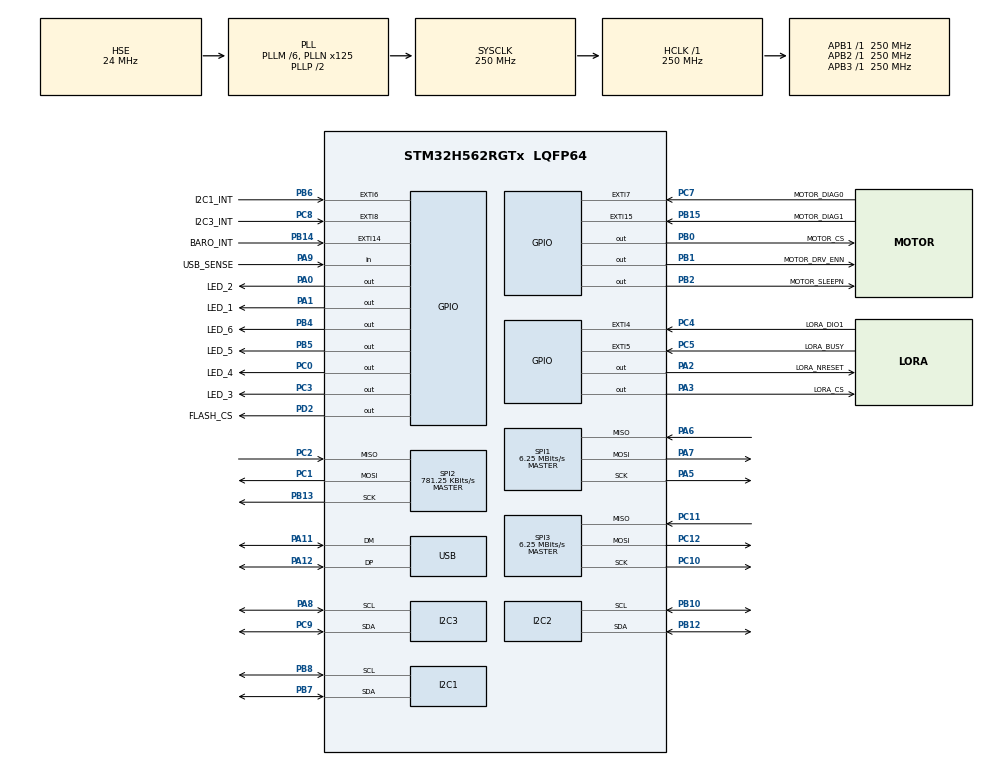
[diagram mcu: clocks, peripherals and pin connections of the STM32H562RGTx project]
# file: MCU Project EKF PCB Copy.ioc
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BOOTPATH.BootPathName=LEGACY
BOOTPATH.UserSelectedBootPath=LEGACY
CORTEX_M33_NS.Number-Cortex_Memory_Protection_Unit_Region0_OTP_RO_AREAS_Settings=MPU_REGION_NUMBER0
CORTEX_M33_NS.default_mode_Activation=1
CORTEX_M33_NS.userName=CORTEX_M33
I2C1.Timing=0x60808CD3
I2C2.Timing=0x60808CD3
I2C3.Timing=0x60808CD3
Mcu.Family=STM32H5
Mcu.Name=STM32H562RGTx
Mcu.Package=LQFP64
NVIC.PriorityGroup=NVIC_PRIORITYGROUP_4
PA0.GPIO_Label=LED_2
PA0.GPIO_Speed=GPIO_SPEED_FREQ_LOW
PA0.Signal=GPIO_Output
PA1.GPIO_Label=LED_1
PA1.Signal=GPIO_Output
PA11.Mode=Device
PA11.Signal=USB_DM
PA12.Mode=Device
PA12.Signal=USB_DP
PA13(JTMS/SWDIO).Mode=Trace_Asynchronous_SW
PA13(JTMS/SWDIO).Signal=DEBUG_JTMS-SWDIO
PA14(JTCK/SWCLK).Mode=Trace_Asynchronous_SW
PA14(JTCK/SWCLK).Signal=DEBUG_JTCK-SWCLK
PA2.GPIO_Label=LORA_NRESET
PA2.Signal=GPIO_Output
PA3.GPIO_Label=LORA_CS
PA3.PinState=GPIO_PIN_SET
PA3.Signal=GPIO_Output
PA5.Mode=Full_Duplex_Master
PA5.Signal=SPI1_SCK
PA6.Mode=Full_Duplex_Master
PA6.Signal=SPI1_MISO
PA7.Mode=Full_Duplex_Master
PA7.Signal=SPI1_MOSI
PA8.Mode=I2C
PA8.Signal=I2C3_SCL
PA9.GPIO_Label=USB_SENSE
PA9.Signal=GPIO_Input
PB0.GPIO_Label=MOTOR_CS
PB0.PinState=GPIO_PIN_SET
PB0.Signal=GPIO_Output
PB1.GPIO_Label=MOTOR_DRV_ENN
PB1.PinState=GPIO_PIN_SET
PB1.Signal=GPIO_Output
PB10.Mode=I2C
PB10.Signal=I2C2_SCL
PB12.Mode=I2C
PB12.Signal=I2C2_SDA
PB13.Mode=Full_Duplex_Master
PB13.Signal=SPI2_SCK
PB14.GPIO_Label=BARO_INT
PB14.Signal=GPXTI14
PB15.GPIO_Label=MOTOR_DIAG1
PB15.Signal=GPXTI15
PB2.GPIO_Label=MOTOR_SLEEPN
PB2.PinState=GPIO_PIN_SET
PB2.Signal=GPIO_Output
PB3(JTDO/TRACESWO).Mode=Trace_Asynchronous_SW
PB3(JTDO/TRACESWO).Signal=DEBUG_JTDO-SWO
PB4(NJTRST).GPIO_Label=LED_6
PB4(NJTRST).Signal=GPIO_Output
PB5.GPIO_Label=LED_5
PB5.Signal=GPIO_Output
PB6.GPIO_Label=I2C1_INT
PB6.Signal=GPXTI6
PB7.Mode=I2C
PB7.Signal=I2C1_SDA
PB8.Mode=I2C
PB8.Signal=I2C1_SCL
PC0.GPIO_Label=LED_4
PC0.Signal=GPIO_Output
PC1.Mode=Full_Duplex_Master
PC1.Signal=SPI2_MOSI
PC10.Mode=Full_Duplex_Master
PC10.Signal=SPI3_SCK
PC11.Mode=Full_Duplex_Master
PC11.Signal=SPI3_MISO
PC12.Mode=Full_Duplex_Master
PC12.Signal=SPI3_MOSI
PC2.Mode=Full_Duplex_Master
PC2.Signal=SPI2_MISO
PC3.GPIO_Label=LED_3
PC3.Signal=GPIO_Output
PC4.GPIO_Label=LORA_DIO1
PC4.Signal=GPXTI4
PC5.GPIO_Label=LORA_BUSY
PC5.Signal=GPXTI5
PC7.GPIO_Label=MOTOR_DIAG0
PC7.Signal=GPXTI7
PC8.GPIO_Label=I2C3_INT
PC8.Signal=GPXTI8
PC9.Mode=I2C
PC9.Signal=I2C3_SDA
PD2.GPIO_Label=FLASH_CS
PD2.PinState=GPIO_PIN_SET
PD2.Signal=GPIO_Output
PH0-OSC_IN(PH0).Mode=HSE-DIG-External-Clock-Source
PH0-OSC_IN(PH0).Signal=RCC_OSC_IN
ProjectManager.HeapSize=0x200
ProjectManager.StackSize=0x2000
ProjectManager.TargetToolchain=STM32CubeIDE
RCC.ADCFreq_Value=250000000
RCC.AHBFreq_Value=250000000
RCC.APB1Freq_Value=250000000
RCC.APB1TimFreq_Value=250000000
RCC.APB2Freq_Value=250000000
RCC.APB2TimFreq_Value=250000000
RCC.APB3Freq_Value=250000000
RCC.CSI_VALUE=4000000
RCC.CortexFreq_Value=250000000
RCC.EPOD_VALUE=24000000
RCC.HCLKFreq_Value=250000000
RCC.HSE_VALUE=24000000
RCC.HSI48_VALUE=48000000
RCC.HSIDiv=RCC_HSI_DIV1
RCC.HSI_VALUE=64000000
RCC.LSE_VALUE=32768
RCC.LSIRC_VALUE=32000
RCC.PLL1Q=5
RCC.PLL2FRACN=0
RCC.PLL3FRACN=0
RCC.PLLFRACN=0
RCC.PLLM=6
RCC.PLLN=125
RCC.PLLSourceVirtual=RCC_PLL1_SOURCE_HSE
RCC.SYSCLKFreq_VALUE=250000000
RCC.SYSCLKSource=RCC_SYSCLKSOURCE_PLLCLK
RCC.USBFreq_Value=48000000
RCC.VCOOutputFreq_Value=500000000
SPI1.BaudRatePrescaler=SPI_BAUDRATEPRESCALER_16
SPI1.CalculateBaudRate=6.25 MBits/s
SPI1.DataSize=SPI_DATASIZE_8BIT
SPI1.Direction=SPI_DIRECTION_2LINES
SPI1.Mode=SPI_MODE_MASTER
SPI1.VirtualType=VM_MASTER
SPI2.BaudRatePrescaler=SPI_BAUDRATEPRESCALER_128
SPI2.CLKPhase=SPI_PHASE_2EDGE
SPI2.CLKPolarity=SPI_POLARITY_HIGH
SPI2.CalculateBaudRate=781.25 KBits/s
SPI2.DataSize=SPI_DATASIZE_8BIT
SPI2.Direction=SPI_DIRECTION_2LINES
SPI2.Mode=SPI_MODE_MASTER
SPI2.VirtualType=VM_MASTER
SPI3.BaudRatePrescaler=SPI_BAUDRATEPRESCALER_16
SPI3.CalculateBaudRate=6.25 MBits/s
SPI3.DataSize=SPI_DATASIZE_8BIT
SPI3.Direction=SPI_DIRECTION_2LINES
SPI3.Mode=SPI_MODE_MASTER
SPI3.VirtualType=VM_MASTER
USB.VirtualMode=Device_Only
VP_BOOTPATH_VS_BOOTPATH.Mode=BP_Activate
VP_CORTEX_M33_NS_VS_Hclk.Mode=Hclk_Mode
VP_ICACHE_VS_ICACHE.Mode=DirectMappedCache
VP_MEMORYMAP_VS_MEMORYMAP.Mode=CurAppReg
VP_PWR_VS_LPOM.Mode=PowerOptimisation
VP_PWR_VS_SECSignals.Mode=Security/Privilege
board=custom

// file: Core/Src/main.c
/* USER CODE BEGIN Header */
/**
  ******************************************************************************
  * @file           : main.c
  * @brief          : Main program body
  ******************************************************************************
  * @attention
  *
  * Copyright (c) 2026 STMicroelectronics.
  * All rights reserved.
  *
  * This software is licensed under terms that can be found in the LICENSE file
  * in the root directory of this software component.
  * If no LICENSE file comes with this software, it is provided AS-IS.
  *
  ******************************************************************************
  */
/* USER CODE END Header */
#include "main.h"

/* USER CODE BEGIN Includes */
#include <stdbool.h>
#include <string.h>
#include <stdio.h>
#include <stdlib.h>
/*
 * Application modules layered on top of CubeMX-generated peripheral setup:
 *   ambar_app      -> cooperative EKF/sensor/telemetry scheduler.
 *   radio_bridge   -> SX1280 telemetry payload formatter/service task.
 *   rocket_sensors -> sensor init, raw reads, and SI-unit conversions.
 *   device drivers -> individual chip register access.
 */
/* Project-owned cooperative application; see CODE_GUIDE.md [ARCH-1]. */
#include "ambar_app.h"
#include "ambar_features.h"
#include "radio_bridge.h"
#include "rocket_sensors.h"
#include "lsm6dsv32x.h"
#include "lis2mdl.h"
#include "bmp388.h"
#include "tmc5240.h"
/* USER CODE END Includes */

/* USER CODE BEGIN PD */
/*
 * Bring-up constants used only in main.c for quick LED/debug checks.  Full
 * sensor/radio operation lives in the dedicated driver modules below.
 */
#define BMP388_I2C_ADDR          (0x76U << 1)
#define BMP388_CHIP_ID_REG       0x00U
#define BMP388_EXPECTED_CHIP_ID  0x50U
#define W25Q_JEDEC_ID_CMD                 0x9FU
#define W25Q_EXPECTED_MANUFACTURER_ID     0xEFU
#define W25Q_EXPECTED_MEMORY_TYPE         0x40U
#define W25Q_EXPECTED_CAPACITY            0x17U
#define SX1280_GET_STATUS_CMD  0xC0U
#define SX1280_BUSY_TIMEOUT_MS 100U
#if AMBAR_FEATURE_WATCHDOG
/* 32 kHz nominal LSI / 128 prescaler, reload 3999 -> approximately 16 seconds. */
#define AMBAR_WATCHDOG_RELOAD            3999U
#define AMBAR_WATCHDOG_INIT_TIMEOUT_MS   100U
#define AMBAR_IWDG_KEY_ENABLE            0x0000CCCCUL
#define AMBAR_IWDG_KEY_WRITE_ACCESS      0x00005555UL
#define AMBAR_IWDG_KEY_RELOAD            0x0000AAAAUL
#endif
/* USER CODE END PD */

I2C_HandleTypeDef hi2c1;
I2C_HandleTypeDef hi2c2;
I2C_HandleTypeDef hi2c3;

SPI_HandleTypeDef hspi1;
SPI_HandleTypeDef hspi2;
SPI_HandleTypeDef hspi3;

PCD_HandleTypeDef hpcd_USB_DRD_FS;

/* USER CODE BEGIN PV */
/*
 * These globals are intentionally simple debugger-visible bring-up values.
 * They let you pause after startup and confirm each major device answered:
 *   LED_1/2 -> TMC5240 motor driver pass/fail.
 *   LED_3   -> BMP388 chip ID pass.
 *   LED_4   -> external flash JEDEC ID pass.
 *   LED_5   -> SX1280 radio status/telemetry pass.
 *   LED_6   -> toggles on telemetry scheduler cycles.
 */
uint8_t tmc5240_version = 0;
HAL_StatusTypeDef tmc5240_status = HAL_ERROR;
uint8_t bmp388_chip_id = 0;
HAL_StatusTypeDef bmp388_status = HAL_ERROR;
uint8_t flash_jedec_id[3] = {0};
HAL_StatusTypeDef flash_status = HAL_ERROR;
uint8_t sx1280_status_byte = 0;
HAL_StatusTypeDef sx1280_status = HAL_ERROR;
/* USER CODE END PV */

void SystemClock_Config(void);
static void MPU_Config(void);
static void MX_GPIO_Init(void);
static void MX_I2C1_Init(void);
static void MX_I2C3_Init(void);
static void MX_ICACHE_Init(void);
static void MX_SPI1_Init(void);
static void MX_SPI2_Init(void);
static void MX_SPI3_Init(void);
#if AMBAR_FEATURE_USB_PROTOCOL
static HAL_StatusTypeDef MX_USB_PCD_Init(void);
#endif
static void MX_I2C2_Init(void);
/* USER CODE BEGIN PFP */
/*
 * Local hardware smoke-test helpers.  They are intentionally separate from the
 * flight scheduler so board bring-up can tell "chip did not answer" apart from
 * higher-level EKF or telemetry faults.
 */
static HAL_StatusTypeDef BMP388_ReadChipId(uint8_t *chip_id);
static HAL_StatusTypeDef Flash_ReadJedecId(uint8_t jedec_id[3]);
#if AMBAR_FEATURE_RADIO
static HAL_StatusTypeDef SX1280_WaitWhileBusy(uint32_t timeout_ms);
static HAL_StatusTypeDef SX1280_ReadStatus(uint8_t *status_byte);
static HAL_StatusTypeDef SX1280_BringupTest(uint8_t *status_byte);
#endif
#if AMBAR_FEATURE_WATCHDOG
static HAL_StatusTypeDef AmbarWatchdog_Init(void);
static void AmbarWatchdog_Refresh(void);
#endif
/* USER CODE END PFP */

/* USER CODE BEGIN 0 */
#if AMBAR_FEATURE_WATCHDOG
static HAL_StatusTypeDef AmbarWatchdog_Init(void)
{
  const uint32_t update_flags = IWDG_SR_PVU | IWDG_SR_RVU | IWDG_SR_WVU;
  const uint32_t start_ms = HAL_GetTick();

  /* Starting IWDG also starts its LSI clock on STM32H5. */
  IWDG->KR = AMBAR_IWDG_KEY_ENABLE;
  IWDG->KR = AMBAR_IWDG_KEY_WRITE_ACCESS;
  IWDG->PR = IWDG_PR_PR_2 | IWDG_PR_PR_0; /* divide by 128 */
  IWDG->RLR = AMBAR_WATCHDOG_RELOAD;
  IWDG->WINR = IWDG_WINR_WIN; /* window disabled */

  while ((IWDG->SR & update_flags) != 0U)
  {
    if ((uint32_t)(HAL_GetTick() - start_ms) >= AMBAR_WATCHDOG_INIT_TIMEOUT_MS)
    {
      return HAL_TIMEOUT;
    }
  }

  IWDG->KR = AMBAR_IWDG_KEY_RELOAD;
  return HAL_OK;
}

static void AmbarWatchdog_Refresh(void)
{
  IWDG->KR = AMBAR_IWDG_KEY_RELOAD;
}
#endif

static HAL_StatusTypeDef BMP388_ReadChipId(uint8_t *chip_id)
{
  /*
   * Minimal direct BMP388 read used before the full BMP388 driver initializes.
   * It checks the physical I2C2 path and chip ID with as little code as possible.
   */
  if (chip_id == 0)
  {
    return HAL_ERROR;
  }

  *chip_id = 0;
  return HAL_I2C_Mem_Read(&hi2c2, BMP388_I2C_ADDR, BMP388_CHIP_ID_REG,
                          I2C_MEMADD_SIZE_8BIT, chip_id, 1, 100);
}

static HAL_StatusTypeDef Flash_ReadJedecId(uint8_t jedec_id[3])
{
  /*
   * External flash smoke test.  The EKF does not use flash yet, but this confirms
   * SPI3, FLASH_CS, and the flash power/wiring are alive on the PCB.
   */
  uint8_t cmd = W25Q_JEDEC_ID_CMD;
  HAL_StatusTypeDef status;

  if (jedec_id == 0)
  {
    return HAL_ERROR;
  }

  jedec_id[0] = 0;
  jedec_id[1] = 0;
  jedec_id[2] = 0;

  HAL_GPIO_WritePin(FLASH_CS_GPIO_Port, FLASH_CS_Pin, GPIO_PIN_RESET);

  status = HAL_SPI_Transmit(&hspi3, &cmd, 1, 100);
  if (status == HAL_OK)
  {
    status = HAL_SPI_Receive(&hspi3, jedec_id, 3, 100);
  }

  HAL_GPIO_WritePin(FLASH_CS_GPIO_Port, FLASH_CS_Pin, GPIO_PIN_SET);

  return status;
}

#if AMBAR_FEATURE_RADIO
static HAL_StatusTypeDef SX1280_WaitWhileBusy(uint32_t timeout_ms)
{
  /*
   * Tiny radio helper for the startup smoke test.  The full SX1280 driver has a
   * richer port layer, but this keeps early status-read failures easy to isolate.
   */
  uint32_t start = HAL_GetTick();

  while (HAL_GPIO_ReadPin(LORA_BUSY_GPIO_Port, LORA_BUSY_Pin) == GPIO_PIN_SET)
  {
    if ((HAL_GetTick() - start) >= timeout_ms)
    {
      return HAL_TIMEOUT;
    }
  }

  return HAL_OK;
}

static HAL_StatusTypeDef SX1280_ReadStatus(uint8_t *status_byte)
{
  /*
   * Read the SX1280 status byte directly after reset.  A value of 0x00 or 0xFF
   * usually means wiring, chip-select, reset, or MISO problems.
   */
  uint8_t tx[2] = {SX1280_GET_STATUS_CMD, 0x00};
  uint8_t rx[2] = {0};
  HAL_StatusTypeDef status;

  if (status_byte == 0)
  {
    return HAL_ERROR;
  }

  *status_byte = 0;

  status = SX1280_WaitWhileBusy(SX1280_BUSY_TIMEOUT_MS);
  if (status != HAL_OK)
  {
    return status;
  }

  HAL_GPIO_WritePin(LORA_CS_GPIO_Port, LORA_CS_Pin, GPIO_PIN_RESET);
  status = HAL_SPI_TransmitReceive(&hspi1, tx, rx, 2, 100);
  HAL_GPIO_WritePin(LORA_CS_GPIO_Port, LORA_CS_Pin, GPIO_PIN_SET);

  if (status == HAL_OK)
  {
    *status_byte = rx[1];
  }

  return status;
}

static HAL_StatusTypeDef SX1280_BringupTest(uint8_t *status_byte)
{
  /*
   * Hardware reset plus one status command.  This is deliberately done before
   * RadioBridge_Init() so LED_5 can show low-level radio bring-up independently.
   */
  HAL_GPIO_WritePin(LORA_CS_GPIO_Port, LORA_CS_Pin, GPIO_PIN_SET);

  HAL_GPIO_WritePin(LORA_NRESET_GPIO_Port, LORA_NRESET_Pin, GPIO_PIN_RESET);
  HAL_Delay(2);
  HAL_GPIO_WritePin(LORA_NRESET_GPIO_Port, LORA_NRESET_Pin, GPIO_PIN_SET);
  HAL_Delay(20);

  return SX1280_ReadStatus(status_byte);
}
#endif
/* USER CODE END 0 */

int main(void)
{

  /* MCU Configuration--------------------------------------------------------*/

  /* MPU Configuration--------------------------------------------------------*/
  MPU_Config();

  /* Reset of all peripherals, Initializes the Flash interface and the Systick. */
  HAL_Init();

  /* Configure the system clock */
  SystemClock_Config();

  /* Initialize all configured peripherals */
  MX_GPIO_Init();
  MX_I2C1_Init();
  MX_I2C3_Init();
  MX_ICACHE_Init();
  MX_SPI1_Init();
  MX_SPI2_Init();
  MX_SPI3_Init();
#if AMBAR_FEATURE_USB_PROTOCOL
  /* USB is optional: a setup failure must not stop the flight application. */
  (void)MX_USB_PCD_Init();
#endif
  MX_I2C2_Init();
  /* USER CODE BEGIN 2 */
  /*
   * Startup flow:
   *   1. Run low-level chip checks and light LEDs.
   *   2. Initialize the full sensor/radio stack.
   *   3. Capture pad references and reset the EKF.
   *   4. Enter the nonblocking scheduler in the while loop.
   */
  /* Bring up the TMC5240 safely before any motor movement code exists. */
  tmc5240_status = TMC5240_Init(&tmc5240_version);

  /* LED_1 means the motor driver answered correctly; LED_2 means it did not. */
  if (tmc5240_status == HAL_OK)
  {
    HAL_GPIO_WritePin(LED_1_GPIO_Port, LED_1_Pin, GPIO_PIN_SET);
    HAL_GPIO_WritePin(LED_2_GPIO_Port, LED_2_Pin, GPIO_PIN_RESET);
  }
  else
  {
    HAL_GPIO_WritePin(LED_1_GPIO_Port, LED_1_Pin, GPIO_PIN_RESET);
    HAL_GPIO_WritePin(LED_2_GPIO_Port, LED_2_Pin, GPIO_PIN_SET);
  }

  /* LED_3 means the BMP388 barometer answered with the expected chip ID. */
  bmp388_status = BMP388_ReadChipId(&bmp388_chip_id);
  if (bmp388_status == HAL_OK && bmp388_chip_id == BMP388_EXPECTED_CHIP_ID)
  {
    HAL_GPIO_WritePin(LED_3_GPIO_Port, LED_3_Pin, GPIO_PIN_SET);
  }
  else
  {
    HAL_GPIO_WritePin(LED_3_GPIO_Port, LED_3_Pin, GPIO_PIN_RESET);
  }

  /* LED_4 means the external flash answered with the expected JEDEC ID. */
  flash_status = Flash_ReadJedecId(flash_jedec_id);
  if (flash_status == HAL_OK &&
      flash_jedec_id[0] == W25Q_EXPECTED_MANUFACTURER_ID &&
      flash_jedec_id[1] == W25Q_EXPECTED_MEMORY_TYPE &&
      flash_jedec_id[2] == W25Q_EXPECTED_CAPACITY)
  {
    HAL_GPIO_WritePin(LED_4_GPIO_Port, LED_4_Pin, GPIO_PIN_SET);
  }
  else
  {
    HAL_GPIO_WritePin(LED_4_GPIO_Port, LED_4_Pin, GPIO_PIN_RESET);
  }

  /* LED_5 means the SX1280 reset, cleared BUSY, and answered a status command. */
#if AMBAR_FEATURE_RADIO
  sx1280_status = SX1280_BringupTest(&sx1280_status_byte);
  if (sx1280_status == HAL_OK && sx1280_status_byte != 0x00 && sx1280_status_byte != 0xFF)
  {
    /* Radio answered a plausible status byte. */
    HAL_GPIO_WritePin(LED_5_GPIO_Port, LED_5_Pin, GPIO_PIN_SET);
  }
  else
  {
    HAL_GPIO_WritePin(LED_5_GPIO_Port, LED_5_Pin, GPIO_PIN_RESET);
  }
#else
  sx1280_status = HAL_ERROR;
  sx1280_status_byte = 0U;
  HAL_GPIO_WritePin(LED_5_GPIO_Port, LED_5_Pin, GPIO_PIN_RESET);
#endif
  if (sx1280_status == HAL_OK && sx1280_status_byte != 0x00 && sx1280_status_byte != 0xFF)
  {
    /*
     * Duplicate LED_5 write is kept from the original bring-up flow.  It is
     * harmless, and leaving it in place avoids changing behavior during this
     * comment-only pass.
     */
    HAL_GPIO_WritePin(LED_5_GPIO_Port, LED_5_Pin, GPIO_PIN_SET);
  }
  else
  {
    HAL_GPIO_WritePin(LED_5_GPIO_Port, LED_5_Pin, GPIO_PIN_RESET);
  }

  /*
   * RocketSensors_Init() now prepares the IMU and compensated BMP388 path for
   * EKF use.  AmbarApp_Init() captures the pad reference, resets the estimator,
   * and leaves the actuator disabled unless every safety gate is satisfied.
  */
  HAL_StatusTypeDef sensor_status = RocketSensors_Init();
  HAL_StatusTypeDef radio_status = HAL_ERROR;
#if AMBAR_FEATURE_RADIO
  radio_status = RadioBridge_Init();
#endif
  AmbarApp_Init(sensor_status,
                radio_status,
                tmc5240_status == HAL_OK ? 1U : 0U);
#if AMBAR_FEATURE_WATCHDOG
  if (AmbarWatchdog_Init() != HAL_OK)
  {
    Error_Handler();
  }
#endif

  /* USER CODE END 2 */

  /* Infinite loop */
  while (1)
  {

    /* USER CODE BEGIN 3 */
    /*
     * The old one-second polling delay is replaced with a scheduler in
     * AmbarApp_Task(): IMU at about 125 Hz, barometer at 50 Hz, and full
     * telemetry at 1 Hz.  Radio TX is serviced asynchronously so sensor fusion
     * remains responsive while a long packet is on air.
    */
    AmbarApp_Task();
#if AMBAR_FEATURE_WATCHDOG
    AmbarWatchdog_Refresh();
#endif
  }
  /* USER CODE END 3 */
}

void SystemClock_Config(void)
{
  RCC_OscInitTypeDef RCC_OscInitStruct = {0};
  RCC_ClkInitTypeDef RCC_ClkInitStruct = {0};

  /** Configure the main internal regulator output voltage
  */
  __HAL_PWR_VOLTAGESCALING_CONFIG(PWR_REGULATOR_VOLTAGE_SCALE0);

  while(!__HAL_PWR_GET_FLAG(PWR_FLAG_VOSRDY)) {}

  /** Initializes the RCC Oscillators according to the specified parameters
  * in the RCC_OscInitTypeDef structure.
  */
  RCC_OscInitStruct.OscillatorType = RCC_OSCILLATORTYPE_HSE;
#if AMBAR_BUILD_IS_CONTINUOUS_HIL
  /*
   * Keep the HIL USB clock on the CubeMX-generated, hardware-proven startup
   * path.  The host link is mandatory in this profile and must enumerate
   * reliably before any motion authority can exist.
   */
  RCC_OscInitStruct.OscillatorType |= RCC_OSCILLATORTYPE_HSI48;
  RCC_OscInitStruct.HSI48State = RCC_HSI48_ON;
#endif
  RCC_OscInitStruct.HSEState = RCC_HSE_BYPASS_DIGITAL;
  RCC_OscInitStruct.PLL.PLLState = RCC_PLL_ON;
  RCC_OscInitStruct.PLL.PLLSource = RCC_PLL1_SOURCE_HSE;
  RCC_OscInitStruct.PLL.PLLM = 6;
  RCC_OscInitStruct.PLL.PLLN = 125;
  RCC_OscInitStruct.PLL.PLLP = 2;
  RCC_OscInitStruct.PLL.PLLQ = 5;
  RCC_OscInitStruct.PLL.PLLR = 2;
  RCC_OscInitStruct.PLL.PLLRGE = RCC_PLL1_VCIRANGE_2;
  RCC_OscInitStruct.PLL.PLLVCOSEL = RCC_PLL1_VCORANGE_WIDE;
  RCC_OscInitStruct.PLL.PLLFRACN = 0;
  if (HAL_RCC_OscConfig(&RCC_OscInitStruct) != HAL_OK)
  {
    Error_Handler();
  }

  /** Initializes the CPU, AHB and APB buses clocks
  */
  RCC_ClkInitStruct.ClockType = RCC_CLOCKTYPE_HCLK|RCC_CLOCKTYPE_SYSCLK
                              |RCC_CLOCKTYPE_PCLK1|RCC_CLOCKTYPE_PCLK2
                              |RCC_CLOCKTYPE_PCLK3;
  RCC_ClkInitStruct.SYSCLKSource = RCC_SYSCLKSOURCE_PLLCLK;
  RCC_ClkInitStruct.AHBCLKDivider = RCC_SYSCLK_DIV1;
  RCC_ClkInitStruct.APB1CLKDivider = RCC_HCLK_DIV1;
  RCC_ClkInitStruct.APB2CLKDivider = RCC_HCLK_DIV1;
  RCC_ClkInitStruct.APB3CLKDivider = RCC_HCLK_DIV1;

  if (HAL_RCC_ClockConfig(&RCC_ClkInitStruct, FLASH_LATENCY_5) != HAL_OK)
  {
    Error_Handler();
  }

  /** Configure the programming delay
  */
  __HAL_FLASH_SET_PROGRAM_DELAY(FLASH_PROGRAMMING_DELAY_2);
}

static void MX_I2C1_Init(void)
{

  hi2c1.Instance = I2C1;
  hi2c1.Init.Timing = 0x60808CD3;
  hi2c1.Init.OwnAddress1 = 0;
  hi2c1.Init.AddressingMode = I2C_ADDRESSINGMODE_7BIT;
  hi2c1.Init.DualAddressMode = I2C_DUALADDRESS_DISABLE;
  hi2c1.Init.OwnAddress2 = 0;
  hi2c1.Init.OwnAddress2Masks = I2C_OA2_NOMASK;
  hi2c1.Init.GeneralCallMode = I2C_GENERALCALL_DISABLE;
  hi2c1.Init.NoStretchMode = I2C_NOSTRETCH_DISABLE;
  if (HAL_I2C_Init(&hi2c1) != HAL_OK)
  {
    Error_Handler();
  }

  /** Configure Analogue filter
  */
  if (HAL_I2CEx_ConfigAnalogFilter(&hi2c1, I2C_ANALOGFILTER_ENABLE) != HAL_OK)
  {
    Error_Handler();
  }

  /** Configure Digital filter
  */
  if (HAL_I2CEx_ConfigDigitalFilter(&hi2c1, 0) != HAL_OK)
  {
    Error_Handler();
  }

}

static void MX_I2C2_Init(void)
{

  hi2c2.Instance = I2C2;
  hi2c2.Init.Timing = 0x60808CD3;
  hi2c2.Init.OwnAddress1 = 0;
  hi2c2.Init.AddressingMode = I2C_ADDRESSINGMODE_7BIT;
  hi2c2.Init.DualAddressMode = I2C_DUALADDRESS_DISABLE;
  hi2c2.Init.OwnAddress2 = 0;
  hi2c2.Init.OwnAddress2Masks = I2C_OA2_NOMASK;
  hi2c2.Init.GeneralCallMode = I2C_GENERALCALL_DISABLE;
  hi2c2.Init.NoStretchMode = I2C_NOSTRETCH_DISABLE;
  if (HAL_I2C_Init(&hi2c2) != HAL_OK)
  {
    Error_Handler();
  }

  /** Configure Analogue filter
  */
  if (HAL_I2CEx_ConfigAnalogFilter(&hi2c2, I2C_ANALOGFILTER_ENABLE) != HAL_OK)
  {
    Error_Handler();
  }

  /** Configure Digital filter
  */
  if (HAL_I2CEx_ConfigDigitalFilter(&hi2c2, 0) != HAL_OK)
  {
    Error_Handler();
  }

}

static void MX_I2C3_Init(void)
{

  hi2c3.Instance = I2C3;
  hi2c3.Init.Timing = 0x60808CD3;
  hi2c3.Init.OwnAddress1 = 0;
  hi2c3.Init.AddressingMode = I2C_ADDRESSINGMODE_7BIT;
  hi2c3.Init.DualAddressMode = I2C_DUALADDRESS_DISABLE;
  hi2c3.Init.OwnAddress2 = 0;
  hi2c3.Init.OwnAddress2Masks = I2C_OA2_NOMASK;
  hi2c3.Init.GeneralCallMode = I2C_GENERALCALL_DISABLE;
  hi2c3.Init.NoStretchMode = I2C_NOSTRETCH_DISABLE;
  if (HAL_I2C_Init(&hi2c3) != HAL_OK)
  {
    Error_Handler();
  }

  /** Configure Analogue filter
  */
  if (HAL_I2CEx_ConfigAnalogFilter(&hi2c3, I2C_ANALOGFILTER_ENABLE) != HAL_OK)
  {
    Error_Handler();
  }

  /** Configure Digital filter
  */
  if (HAL_I2CEx_ConfigDigitalFilter(&hi2c3, 0) != HAL_OK)
  {
    Error_Handler();
  }

}

static void MX_ICACHE_Init(void)
{

  /** Enable instruction cache in 1-way (direct mapped cache)
  */
  if (HAL_ICACHE_ConfigAssociativityMode(ICACHE_1WAY) != HAL_OK)
  {
    Error_Handler();
  }
  if (HAL_ICACHE_Enable() != HAL_OK)
  {
    Error_Handler();
  }

}

static void MX_SPI1_Init(void)
{

  /* SPI1 parameter configuration*/
  hspi1.Instance = SPI1;
  hspi1.Init.Mode = SPI_MODE_MASTER;
  hspi1.Init.Direction = SPI_DIRECTION_2LINES;
  hspi1.Init.DataSize = SPI_DATASIZE_8BIT;
  hspi1.Init.CLKPolarity = SPI_POLARITY_LOW;
  hspi1.Init.CLKPhase = SPI_PHASE_1EDGE;
  hspi1.Init.NSS = SPI_NSS_SOFT;
  hspi1.Init.BaudRatePrescaler = SPI_BAUDRATEPRESCALER_16;
  hspi1.Init.FirstBit = SPI_FIRSTBIT_MSB;
  hspi1.Init.TIMode = SPI_TIMODE_DISABLE;
  hspi1.Init.CRCCalculation = SPI_CRCCALCULATION_DISABLE;
  hspi1.Init.CRCPolynomial = 0x7;
  hspi1.Init.NSSPMode = SPI_NSS_PULSE_ENABLE;
  hspi1.Init.NSSPolarity = SPI_NSS_POLARITY_LOW;
  hspi1.Init.FifoThreshold = SPI_FIFO_THRESHOLD_01DATA;
  hspi1.Init.MasterSSIdleness = SPI_MASTER_SS_IDLENESS_00CYCLE;
  hspi1.Init.MasterInterDataIdleness = SPI_MASTER_INTERDATA_IDLENESS_00CYCLE;
  hspi1.Init.MasterReceiverAutoSusp = SPI_MASTER_RX_AUTOSUSP_DISABLE;
  hspi1.Init.MasterKeepIOState = SPI_MASTER_KEEP_IO_STATE_DISABLE;
  hspi1.Init.IOSwap = SPI_IO_SWAP_DISABLE;
  hspi1.Init.ReadyMasterManagement = SPI_RDY_MASTER_MANAGEMENT_INTERNALLY;
  hspi1.Init.ReadyPolarity = SPI_RDY_POLARITY_HIGH;
  if (HAL_SPI_Init(&hspi1) != HAL_OK)
  {
    Error_Handler();
  }

}

static void MX_SPI2_Init(void)
{

  /* SPI2 parameter configuration*/
  hspi2.Instance = SPI2;
  hspi2.Init.Mode = SPI_MODE_MASTER;
  hspi2.Init.Direction = SPI_DIRECTION_2LINES;
  hspi2.Init.DataSize = SPI_DATASIZE_8BIT;
  hspi2.Init.CLKPolarity = SPI_POLARITY_HIGH;
  hspi2.Init.CLKPhase = SPI_PHASE_2EDGE;
  hspi2.Init.NSS = SPI_NSS_SOFT;
  hspi2.Init.BaudRatePrescaler = SPI_BAUDRATEPRESCALER_128;
  hspi2.Init.FirstBit = SPI_FIRSTBIT_MSB;
  hspi2.Init.TIMode = SPI_TIMODE_DISABLE;
  hspi2.Init.CRCCalculation = SPI_CRCCALCULATION_DISABLE;
  hspi2.Init.CRCPolynomial = 0x7;
  hspi2.Init.NSSPMode = SPI_NSS_PULSE_DISABLE;
  hspi2.Init.NSSPolarity = SPI_NSS_POLARITY_LOW;
  hspi2.Init.FifoThreshold = SPI_FIFO_THRESHOLD_01DATA;
  hspi2.Init.MasterSSIdleness = SPI_MASTER_SS_IDLENESS_00CYCLE;
  hspi2.Init.MasterInterDataIdleness = SPI_MASTER_INTERDATA_IDLENESS_00CYCLE;
  hspi2.Init.MasterReceiverAutoSusp = SPI_MASTER_RX_AUTOSUSP_DISABLE;
  hspi2.Init.MasterKeepIOState = SPI_MASTER_KEEP_IO_STATE_DISABLE;
  hspi2.Init.IOSwap = SPI_IO_SWAP_DISABLE;
  hspi2.Init.ReadyMasterManagement = SPI_RDY_MASTER_MANAGEMENT_INTERNALLY;
  hspi2.Init.ReadyPolarity = SPI_RDY_POLARITY_HIGH;
  if (HAL_SPI_Init(&hspi2) != HAL_OK)
  {
    Error_Handler();
  }

}

static void MX_SPI3_Init(void)
{

  /* SPI3 parameter configuration*/
  hspi3.Instance = SPI3;
  hspi3.Init.Mode = SPI_MODE_MASTER;
  hspi3.Init.Direction = SPI_DIRECTION_2LINES;
  hspi3.Init.DataSize = SPI_DATASIZE_8BIT;
  hspi3.Init.CLKPolarity = SPI_POLARITY_LOW;
  hspi3.Init.CLKPhase = SPI_PHASE_1EDGE;
  hspi3.Init.NSS = SPI_NSS_SOFT;
  hspi3.Init.BaudRatePrescaler = SPI_BAUDRATEPRESCALER_16;
  hspi3.Init.FirstBit = SPI_FIRSTBIT_MSB;
  hspi3.Init.TIMode = SPI_TIMODE_DISABLE;
  hspi3.Init.CRCCalculation = SPI_CRCCALCULATION_DISABLE;
  hspi3.Init.CRCPolynomial = 0x7;
  hspi3.Init.NSSPMode = SPI_NSS_PULSE_ENABLE;
  hspi3.Init.NSSPolarity = SPI_NSS_POLARITY_LOW;
  hspi3.Init.FifoThreshold = SPI_FIFO_THRESHOLD_01DATA;
  hspi3.Init.MasterSSIdleness = SPI_MASTER_SS_IDLENESS_00CYCLE;
  hspi3.Init.MasterInterDataIdleness = SPI_MASTER_INTERDATA_IDLENESS_00CYCLE;
  hspi3.Init.MasterReceiverAutoSusp = SPI_MASTER_RX_AUTOSUSP_DISABLE;
  hspi3.Init.MasterKeepIOState = SPI_MASTER_KEEP_IO_STATE_DISABLE;
  hspi3.Init.IOSwap = SPI_IO_SWAP_DISABLE;
  hspi3.Init.ReadyMasterManagement = SPI_RDY_MASTER_MANAGEMENT_INTERNALLY;
  hspi3.Init.ReadyPolarity = SPI_RDY_POLARITY_HIGH;
  if (HAL_SPI_Init(&hspi3) != HAL_OK)
  {
    Error_Handler();
  }

}

#if AMBAR_FEATURE_USB_PROTOCOL
static HAL_StatusTypeDef MX_USB_PCD_Init(void)
{
#if !AMBAR_BUILD_IS_CONTINUOUS_HIL
  RCC_OscInitTypeDef RCC_OscInitStruct = {0};
  RCC_PeriphCLKInitTypeDef PeriphClkInitStruct = {0};
#endif

  /* USER CODE BEGIN USB_Init 1 */

  /*
   * NORMAL keeps USB fail-soft. CONTINUOUS_HIL uses the hardware-proven
   * SystemClock_Config()/HAL_PCD_MspInit path because USB is mandatory there.
   */
#if !AMBAR_BUILD_IS_CONTINUOUS_HIL
  RCC_OscInitStruct.OscillatorType = RCC_OSCILLATORTYPE_HSI48;
  RCC_OscInitStruct.HSI48State = RCC_HSI48_ON;
  RCC_OscInitStruct.PLL.PLLState = RCC_PLL_NONE;
  if (HAL_RCC_OscConfig(&RCC_OscInitStruct) != HAL_OK)
  {
    return HAL_ERROR;
  }

  PeriphClkInitStruct.PeriphClockSelection = RCC_PERIPHCLK_USB;
  PeriphClkInitStruct.UsbClockSelection = RCC_USBCLKSOURCE_HSI48;
  if (HAL_RCCEx_PeriphCLKConfig(&PeriphClkInitStruct) != HAL_OK)
  {
    return HAL_ERROR;
  }
#endif

  /* USER CODE END USB_Init 1 */
  hpcd_USB_DRD_FS.Instance = USB_DRD_FS;
  hpcd_USB_DRD_FS.Init.dev_endpoints = 8;
  hpcd_USB_DRD_FS.Init.speed = USBD_FS_SPEED;
  hpcd_USB_DRD_FS.Init.phy_itface = PCD_PHY_EMBEDDED;
  hpcd_USB_DRD_FS.Init.Sof_enable = DISABLE;
  hpcd_USB_DRD_FS.Init.low_power_enable = DISABLE;
  hpcd_USB_DRD_FS.Init.lpm_enable = DISABLE;
  hpcd_USB_DRD_FS.Init.battery_charging_enable = DISABLE;
  hpcd_USB_DRD_FS.Init.vbus_sensing_enable = DISABLE;
  hpcd_USB_DRD_FS.Init.bulk_doublebuffer_enable = DISABLE;
  hpcd_USB_DRD_FS.Init.iso_singlebuffer_enable = DISABLE;
  if (HAL_PCD_Init(&hpcd_USB_DRD_FS) != HAL_OK)
  {
    (void)HAL_PCD_DeInit(&hpcd_USB_DRD_FS);
    return HAL_ERROR;
  }
  /* USER CODE BEGIN USB_Init 2 */

  /* USBX CDC ACM endpoint packet-memory layout (full-speed, single buffer). */
  if (HAL_PCDEx_PMAConfig(&hpcd_USB_DRD_FS, 0x00U, PCD_SNG_BUF, 0x14U) != HAL_OK
      || HAL_PCDEx_PMAConfig(&hpcd_USB_DRD_FS, 0x80U, PCD_SNG_BUF, 0x54U) != HAL_OK
      || HAL_PCDEx_PMAConfig(&hpcd_USB_DRD_FS, 0x81U, PCD_SNG_BUF, 0x94U) != HAL_OK
      || HAL_PCDEx_PMAConfig(&hpcd_USB_DRD_FS, 0x01U, PCD_SNG_BUF, 0xD4U) != HAL_OK
      || HAL_PCDEx_PMAConfig(&hpcd_USB_DRD_FS, 0x82U, PCD_SNG_BUF, 0x114U) != HAL_OK)
  {
    (void)HAL_PCD_DeInit(&hpcd_USB_DRD_FS);
    return HAL_ERROR;
  }

  return HAL_OK;

  /* USER CODE END USB_Init 2 */

}
#endif

static void MX_GPIO_Init(void)
{
  GPIO_InitTypeDef GPIO_InitStruct = {0};

  /* GPIO Ports Clock Enable */
  __HAL_RCC_GPIOH_CLK_ENABLE();
  __HAL_RCC_GPIOC_CLK_ENABLE();
  __HAL_RCC_GPIOA_CLK_ENABLE();
  __HAL_RCC_GPIOB_CLK_ENABLE();
  __HAL_RCC_GPIOD_CLK_ENABLE();

  /*Configure GPIO pin Output Level */
  HAL_GPIO_WritePin(GPIOC, LED_4_Pin|LED_3_Pin, GPIO_PIN_RESET);

  /*Configure GPIO pin Output Level */
  HAL_GPIO_WritePin(GPIOA, LED_2_Pin|LED_1_Pin|LORA_NRESET_Pin, GPIO_PIN_RESET);

  /*Configure GPIO pin Output Level */
  HAL_GPIO_WritePin(LORA_CS_GPIO_Port, LORA_CS_Pin, GPIO_PIN_SET);

  /*Configure GPIO pin Output Level */
  HAL_GPIO_WritePin(GPIOB, MOTOR_CS_Pin|MOTOR_DRV_ENN_Pin|MOTOR_SLEEPN_Pin, GPIO_PIN_SET);

  /*Configure GPIO pin Output Level */
  HAL_GPIO_WritePin(FLASH_CS_GPIO_Port, FLASH_CS_Pin, GPIO_PIN_SET);

  /*Configure GPIO pin Output Level */
  HAL_GPIO_WritePin(GPIOB, LED_6_Pin|LED_5_Pin, GPIO_PIN_RESET);

  /*Configure GPIO pins : LED_4_Pin LED_3_Pin */
  GPIO_InitStruct.Pin = LED_4_Pin|LED_3_Pin;
  GPIO_InitStruct.Mode = GPIO_MODE_OUTPUT_PP;
  GPIO_InitStruct.Pull = GPIO_NOPULL;
  GPIO_InitStruct.Speed = GPIO_SPEED_FREQ_LOW;
  HAL_GPIO_Init(GPIOC, &GPIO_InitStruct);

  /*Configure GPIO pins : LED_2_Pin LED_1_Pin LORA_NRESET_Pin LORA_CS_Pin */
  GPIO_InitStruct.Pin = LED_2_Pin|LED_1_Pin|LORA_NRESET_Pin|LORA_CS_Pin;
  GPIO_InitStruct.Mode = GPIO_MODE_OUTPUT_PP;
  GPIO_InitStruct.Pull = GPIO_NOPULL;
  GPIO_InitStruct.Speed = GPIO_SPEED_FREQ_LOW;
  HAL_GPIO_Init(GPIOA, &GPIO_InitStruct);

  /*Configure GPIO pins : LORA_DIO1_Pin LORA_BUSY_Pin MOTOR_DIAG0_Pin I2C3_INT_Pin */
  GPIO_InitStruct.Pin = LORA_DIO1_Pin|LORA_BUSY_Pin|MOTOR_DIAG0_Pin|I2C3_INT_Pin;
  GPIO_InitStruct.Mode = GPIO_MODE_IT_RISING;
  GPIO_InitStruct.Pull = GPIO_NOPULL;
  HAL_GPIO_Init(GPIOC, &GPIO_InitStruct);

  /*Configure GPIO pins : MOTOR_CS_Pin MOTOR_DRV_ENN_Pin MOTOR_SLEEPN_Pin LED_6_Pin
                           LED_5_Pin */
  GPIO_InitStruct.Pin = MOTOR_CS_Pin|MOTOR_DRV_ENN_Pin|MOTOR_SLEEPN_Pin|LED_6_Pin
                          |LED_5_Pin;
  GPIO_InitStruct.Mode = GPIO_MODE_OUTPUT_PP;
  GPIO_InitStruct.Pull = GPIO_NOPULL;
  GPIO_InitStruct.Speed = GPIO_SPEED_FREQ_LOW;
  HAL_GPIO_Init(GPIOB, &GPIO_InitStruct);

  /*Configure GPIO pins : BARO_INT_Pin MOTOR_DIAG1_Pin I2C1_INT_Pin */
  GPIO_InitStruct.Pin = BARO_INT_Pin|MOTOR_DIAG1_Pin|I2C1_INT_Pin;
  GPIO_InitStruct.Mode = GPIO_MODE_IT_RISING;
  GPIO_InitStruct.Pull = GPIO_NOPULL;
  HAL_GPIO_Init(GPIOB, &GPIO_InitStruct);

  /*Configure GPIO pin : USB_SENSE_Pin */
  GPIO_InitStruct.Pin = USB_SENSE_Pin;
  GPIO_InitStruct.Mode = GPIO_MODE_INPUT;
  GPIO_InitStruct.Pull = GPIO_NOPULL;
  HAL_GPIO_Init(USB_SENSE_GPIO_Port, &GPIO_InitStruct);

  /*Configure GPIO pin : PA13 */
  GPIO_InitStruct.Pin = GPIO_PIN_13;
  GPIO_InitStruct.Mode = GPIO_MODE_AF_PP;
  GPIO_InitStruct.Pull = GPIO_PULLUP;
  GPIO_InitStruct.Speed = GPIO_SPEED_FREQ_LOW;
  GPIO_InitStruct.Alternate = GPIO_AF0_TRACE;
  HAL_GPIO_Init(GPIOA, &GPIO_InitStruct);

  /*Configure GPIO pin : FLASH_CS_Pin */
  GPIO_InitStruct.Pin = FLASH_CS_Pin;
  GPIO_InitStruct.Mode = GPIO_MODE_OUTPUT_PP;
  GPIO_InitStruct.Pull = GPIO_NOPULL;
  GPIO_InitStruct.Speed = GPIO_SPEED_FREQ_LOW;
  HAL_GPIO_Init(FLASH_CS_GPIO_Port, &GPIO_InitStruct);

  /*Configure GPIO pin : PB3 */
  GPIO_InitStruct.Pin = GPIO_PIN_3;
  GPIO_InitStruct.Mode = GPIO_MODE_AF_PP;
  GPIO_InitStruct.Pull = GPIO_NOPULL;
  GPIO_InitStruct.Speed = GPIO_SPEED_FREQ_LOW;
  GPIO_InitStruct.Alternate = GPIO_AF0_TRACE;
  HAL_GPIO_Init(GPIOB, &GPIO_InitStruct);

  /* USER CODE BEGIN MX_GPIO_Init_2 */
  /*
   * These interrupts only latch flags.  Sensor reads, radio packets, and motor
   * safety actions still run from the cooperative scheduler so the interrupt
   * path remains short and predictable.
   */
  HAL_NVIC_SetPriority(EXTI4_IRQn, 5, 0);
  HAL_NVIC_EnableIRQ(EXTI4_IRQn);
  HAL_NVIC_SetPriority(EXTI6_IRQn, 5, 0);
  HAL_NVIC_EnableIRQ(EXTI6_IRQn);
  HAL_NVIC_SetPriority(EXTI7_IRQn, 5, 0);
  HAL_NVIC_EnableIRQ(EXTI7_IRQn);
  HAL_NVIC_SetPriority(EXTI8_IRQn, 5, 0);
  HAL_NVIC_EnableIRQ(EXTI8_IRQn);
  HAL_NVIC_SetPriority(EXTI14_IRQn, 5, 0);
  HAL_NVIC_EnableIRQ(EXTI14_IRQn);
  HAL_NVIC_SetPriority(EXTI15_IRQn, 5, 0);
  HAL_NVIC_EnableIRQ(EXTI15_IRQn);

  /* USER CODE END MX_GPIO_Init_2 */
}

 /* MPU Configuration */

void MPU_Config(void)
{
  MPU_Region_InitTypeDef MPU_InitStruct = {0};
  MPU_Attributes_InitTypeDef MPU_AttributesInit = {0};

  /* Disables the MPU */
  HAL_MPU_Disable();

  /** Initializes and configures the Region 0 and the memory to be protected
  */
  MPU_InitStruct.Enable = MPU_REGION_ENABLE;
  MPU_InitStruct.Number = MPU_REGION_NUMBER0;
  MPU_InitStruct.BaseAddress = 0x08FFF000;
  MPU_InitStruct.LimitAddress = 0x08FFFFFF;
  MPU_InitStruct.AttributesIndex = MPU_ATTRIBUTES_NUMBER0;
  MPU_InitStruct.AccessPermission = MPU_REGION_ALL_RO;
  MPU_InitStruct.DisableExec = MPU_INSTRUCTION_ACCESS_DISABLE;
  MPU_InitStruct.IsShareable = MPU_ACCESS_NOT_SHAREABLE;

  HAL_MPU_ConfigRegion(&MPU_InitStruct);

  /** Initializes and configures the Attribute 0 and the memory to be protected
  */
  MPU_AttributesInit.Number = MPU_ATTRIBUTES_NUMBER0;
  MPU_AttributesInit.Attributes = INNER_OUTER(MPU_NOT_CACHEABLE);

  HAL_MPU_ConfigMemoryAttributes(&MPU_AttributesInit);
  /* Enables the MPU */
  HAL_MPU_Enable(MPU_PRIVILEGED_DEFAULT);

}

void Error_Handler(void)
{
  __disable_irq();
  while (1)
  {
  }
}
